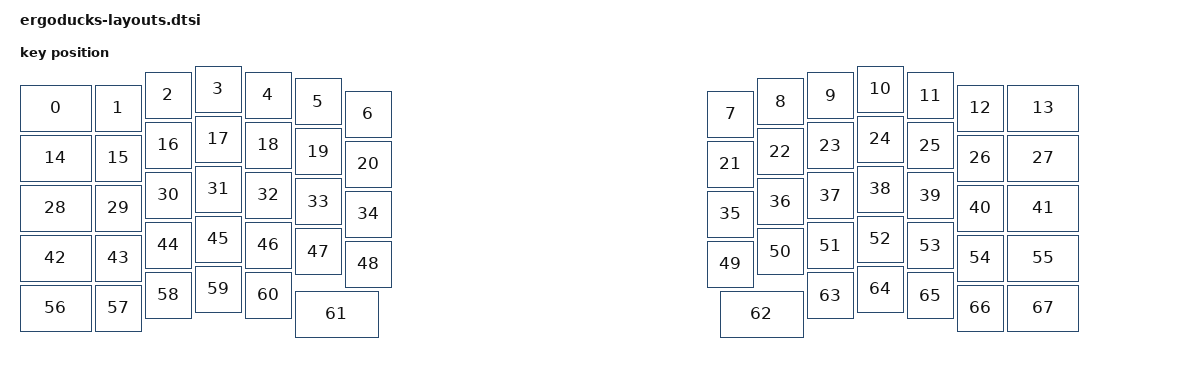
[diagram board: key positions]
// See https://zmk.dev/docs/development/hardware-integration/physical-layouts
// for how to configure this.#include <physical_layouts.dtsi>

/ {
    ergoducks_layout: ergoducks_layout {
        compatible = "zmk,physical-layout";
        display-name = "Default";

        keys  //                     w   h    x    y     rot    rx    ry
            = <&key_physical_attrs 150 100    0   38       0     0     0>
            , <&key_physical_attrs 100 100  150   38       0     0     0>
            , <&key_physical_attrs 100 100  250   12       0     0     0>
            , <&key_physical_attrs 100 100  350    0       0     0     0>
            , <&key_physical_attrs 100 100  450   12       0     0     0>
            , <&key_physical_attrs 100 100  550   25       0     0     0>
            , <&key_physical_attrs 100 100  650   50       0     0     0>
            , <&key_physical_attrs 100 100 1375   50       0     0     0>
            , <&key_physical_attrs 100 100 1475   25       0     0     0>
            , <&key_physical_attrs 100 100 1575   13       0     0     0>
            , <&key_physical_attrs 100 100 1675    0       0     0     0>
            , <&key_physical_attrs 100 100 1775   13       0     0     0>
            , <&key_physical_attrs 100 100 1875   38       0     0     0>
            , <&key_physical_attrs 150 100 1975   38       0     0     0>
            , <&key_physical_attrs 150 100    0  138       0     0     0>
            , <&key_physical_attrs 100 100  150  138       0     0     0>
            , <&key_physical_attrs 100 100  250  112       0     0     0>
            , <&key_physical_attrs 100 100  350  100       0     0     0>
            , <&key_physical_attrs 100 100  450  112       0     0     0>
            , <&key_physical_attrs 100 100  550  125       0     0     0>
            , <&key_physical_attrs 100 100  650  150       0     0     0>
            , <&key_physical_attrs 100 100 1375  150       0     0     0>
            , <&key_physical_attrs 100 100 1475  125       0     0     0>
            , <&key_physical_attrs 100 100 1575  113       0     0     0>
            , <&key_physical_attrs 100 100 1675  100       0     0     0>
            , <&key_physical_attrs 100 100 1775  113       0     0     0>
            , <&key_physical_attrs 100 100 1875  138       0     0     0>
            , <&key_physical_attrs 150 100 1975  138       0     0     0>
            , <&key_physical_attrs 150 100    0  238       0     0     0>
            , <&key_physical_attrs 100 100  150  238       0     0     0>
            , <&key_physical_attrs 100 100  250  212       0     0     0>
            , <&key_physical_attrs 100 100  350  200       0     0     0>
            , <&key_physical_attrs 100 100  450  212       0     0     0>
            , <&key_physical_attrs 100 100  550  225       0     0     0>
            , <&key_physical_attrs 100 100  650  250       0     0     0>
            , <&key_physical_attrs 100 100 1375  250       0     0     0>
            , <&key_physical_attrs 100 100 1475  225       0     0     0>
            , <&key_physical_attrs 100 100 1575  213       0     0     0>
            , <&key_physical_attrs 100 100 1675  200       0     0     0>
            , <&key_physical_attrs 100 100 1775  213       0     0     0>
            , <&key_physical_attrs 100 100 1875  238       0     0     0>
            , <&key_physical_attrs 150 100 1975  238       0     0     0>
            , <&key_physical_attrs 150 100    0  338       0     0     0>
            , <&key_physical_attrs 100 100  150  338       0     0     0>
            , <&key_physical_attrs 100 100  250  312       0     0     0>
            , <&key_physical_attrs 100 100  350  300       0     0     0>
            , <&key_physical_attrs 100 100  450  312       0     0     0>
            , <&key_physical_attrs 100 100  550  325       0     0     0>
            , <&key_physical_attrs 100 100  650  350       0     0     0>
            , <&key_physical_attrs 100 100 1375  350       0     0     0>
            , <&key_physical_attrs 100 100 1475  325       0     0     0>
            , <&key_physical_attrs 100 100 1575  313       0     0     0>
            , <&key_physical_attrs 100 100 1675  300       0     0     0>
            , <&key_physical_attrs 100 100 1775  313       0     0     0>
            , <&key_physical_attrs 100 100 1875  338       0     0     0>
            , <&key_physical_attrs 150 100 1975  338       0     0     0>
            , <&key_physical_attrs 150 100    0  438       0     0     0>
            , <&key_physical_attrs 100 100  150  438       0     0     0>
            , <&key_physical_attrs 100 100  250  412       0     0     0>
            , <&key_physical_attrs 100 100  350  400       0     0     0>
            , <&key_physical_attrs 100 100  450  412       0     0     0>
            , <&key_physical_attrs 175 100  550  450       0     0     0>
            , <&key_physical_attrs 175 100 1400  450       0     0     0>
            , <&key_physical_attrs 100 100 1575  413       0     0     0>
            , <&key_physical_attrs 100 100 1675  400       0     0     0>
            , <&key_physical_attrs 100 100 1775  413       0     0     0>
            , <&key_physical_attrs 100 100 1875  438       0     0     0>
            , <&key_physical_attrs 150 100 1975  438       0     0     0>
            ;
    };
};
